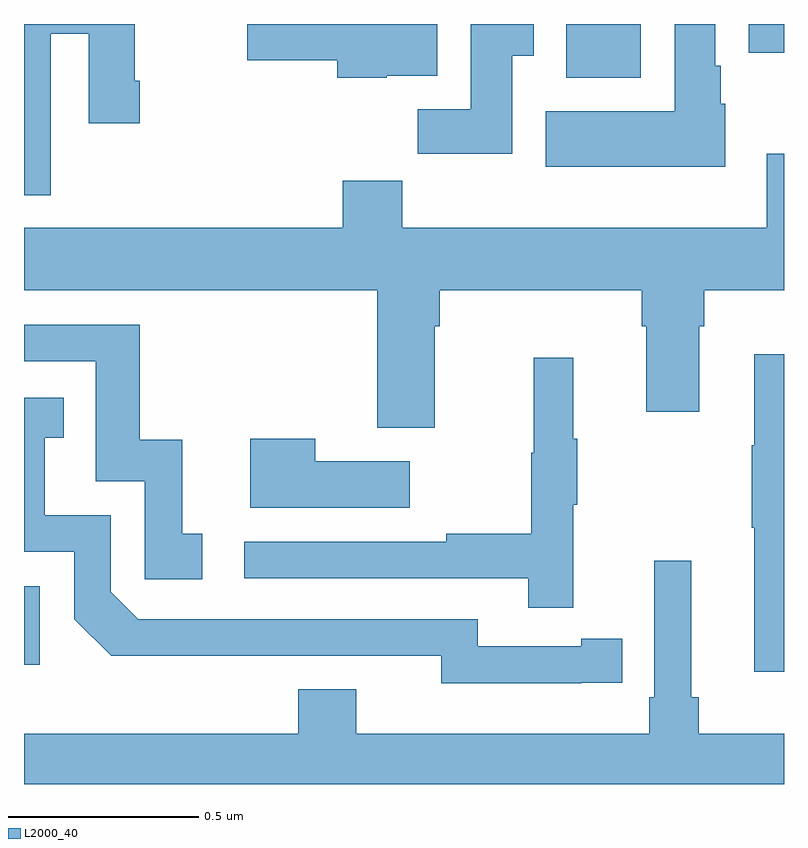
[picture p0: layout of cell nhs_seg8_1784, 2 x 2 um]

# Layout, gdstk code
import gdstk
lib = gdstk.Library(unit=1e-6, precision=1e-09)
def R(c, l, rs):  # rectangles x0, y0, x1, y1
    for r in rs: c.add(gdstk.rectangle(r[:2], r[2:], *l))
def P(c, l, *ps):  # polygons
    for p in ps: c.add(gdstk.Polygon(p, *l))
L2000_40 = (2000, 40)

nhs_seg8_1784 = lib.new_cell('nhs_seg8_1784')
R(nhs_seg8_1784, L2000_40, [(135,1082.214,135.042,1082.421), (136.427,1083.758,136.623,1083.9), (136.907,1083.824,137,1083.9)])
P(nhs_seg8_1784, L2000_40, [(135.954,1083.764),(136.087,1083.764),(136.087,1083.9),(135.588,1083.9),(135.588,1083.805),(135.824,1083.805),(135.824,1083.758),(135.954,1083.758)],
  [(136.846,1083.69),(136.834,1083.69),(136.834,1083.79),(136.819,1083.79),(136.819,1083.9),(136.712,1083.9),(136.712,1083.67),(136.373,1083.67),(136.373,1083.524),(136.846,1083.524)],
  [(135.07,1083.875),(135.17,1083.875),(135.17,1083.639),(135.305,1083.639),(135.305,1083.751),(135.292,1083.751),(135.292,1083.9),(135,1083.9),(135,1083.45),(135.07,1083.45)],
  [(136.285,1083.817),(136.342,1083.817),(136.342,1083.9),(136.175,1083.9),(136.175,1083.676),(136.036,1083.676),(136.036,1083.558),(136.285,1083.558)],
  [(135.995,1083.488),(135.839,1083.488),(135.839,1083.364),(135,1083.364),(135,1083.2),(135.929,1083.2),(135.929,1082.838),(136.081,1082.838),(136.081,1083.104),(136.094,1083.104),(136.094,1083.2),(136.625,1083.2),(136.625,1083.104),(136.637,1083.104),(136.637,1082.88),(136.777,1082.88),(136.777,1083.104),(136.79,1083.104),(136.79,1083.2),(137,1083.2),(137,1083.559),(136.955,1083.559),(136.955,1083.364),(135.995,1083.364)],
  [(135.469,1082.559),(135.416,1082.559),(135.416,1082.806),(135.305,1082.806),(135.305,1083.108),(135,1083.108),(135,1083.012),(135.189,1083.012),(135.189,1082.697),(135.318,1082.697),(135.318,1082.439),(135.469,1082.439)],
  [(137,1083.031),(136.922,1083.031),(136.922,1082.792),(136.915,1082.792),(136.915,1082.575),(136.922,1082.575),(136.922,1082.196),(137,1082.196)],
  [(136.445,1082.635),(136.456,1082.635),(136.456,1082.809),(136.445,1082.809),(136.445,1083.022),(136.342,1083.022),(136.342,1082.772),(136.335,1082.772),(136.335,1082.558),(136.111,1082.558),(136.111,1082.538),(135.579,1082.538),(135.579,1082.442),(136.327,1082.442),(136.327,1082.364),(136.445,1082.364)],
  [(136.466,1082.166),(136.574,1082.166),(136.574,1082.282),(136.466,1082.282),(136.466,1082.262),(136.194,1082.262),(136.194,1082.334),(135.3,1082.334),(135.228,1082.406),(135.228,1082.607),(135.055,1082.607),(135.055,1082.811),(135.104,1082.811),(135.104,1082.917),(135,1082.917),(135,1082.511),(135.132,1082.511),(135.132,1082.334),(135.23,1082.237),(135.638,1082.237),(135.638,1082.238),(136.098,1082.238),(136.098,1082.165),(136.466,1082.165)],
  [(136.015,1082.749),(135.767,1082.749),(135.767,1082.809),(135.596,1082.809),(135.596,1082.627),(136.015,1082.627)],
  [(136.775,1082.128),(136.756,1082.128),(136.756,1082.488),(136.659,1082.488),(136.659,1082.128),(136.646,1082.128),(136.646,1082.032),(135.874,1082.032),(135.874,1082.149),(135.722,1082.149),(135.722,1082.032),(135,1082.032),(135,1081.9),(137,1081.9),(137,1082.032),(136.775,1082.032)])

lib.write_gds('nhs_seg8_1784.gds')
